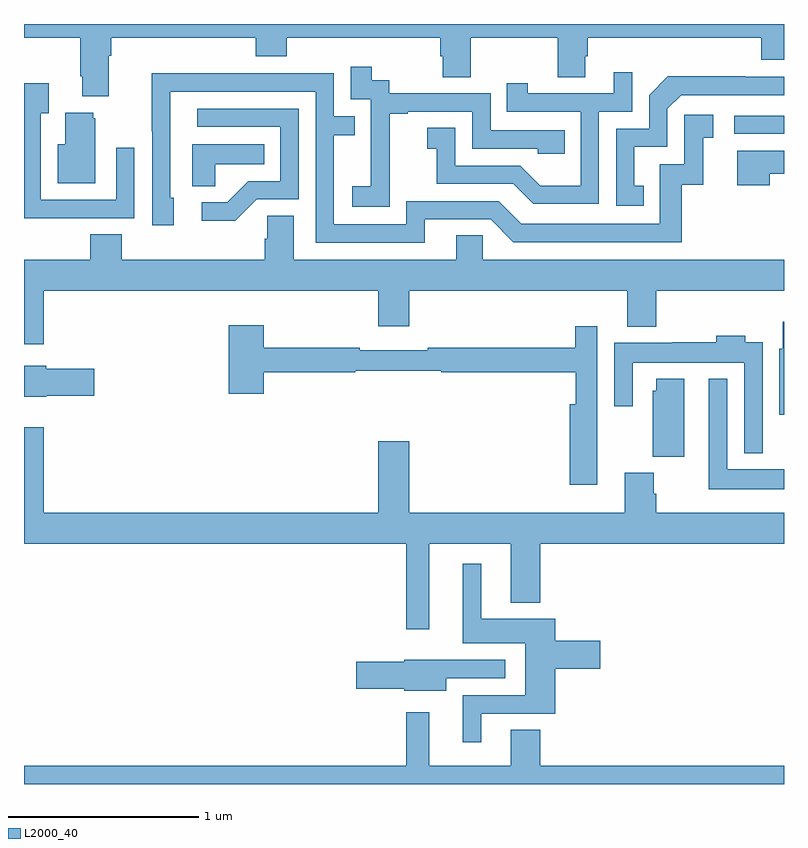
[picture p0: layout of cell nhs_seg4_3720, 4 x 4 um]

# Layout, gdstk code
import gdstk
lib = gdstk.Library(unit=1e-6, precision=1e-09)
def R(c, l, rs):  # rectangles x0, y0, x1, y1
    for r in rs: c.add(gdstk.rectangle(r[:2], r[2:], *l))
def P(c, l, *ps):  # polygons
    for p in ps: c.add(gdstk.Polygon(p, *l))
L2000_40 = (2000, 40)

nhs_seg4_3720 = lib.new_cell('nhs_seg4_3720')
R(nhs_seg4_3720, L2000_40, [(310.737,788.322,311,788.418)])
P(nhs_seg4_3720, L2000_40, [(307.447,788.732),(307.46,788.732),(307.46,788.828),(308.219,788.828),(308.219,788.729),(308.384,788.729),(308.384,788.828),(309.191,788.828),(309.191,788.73),(309.203,788.73),(309.203,788.62),(309.351,788.62),(309.351,788.828),(309.808,788.828),(309.808,788.62),(309.955,788.62),(309.955,788.73),(309.968,788.73),(309.968,788.828),(310.88,788.828),(310.88,788.711),(311,788.711),(311,788.9),(307,788.9),(307,788.828),(307.295,788.828),(307.295,788.626),(307.307,788.626),(307.307,788.519),(307.447,788.519)],
  [(308.925,788.143),(308.924,788.143),(308.924,788.427),(309.019,788.427),(309.019,788.439),(309.36,788.439),(309.36,788.244),(309.705,788.244),(309.705,788.217),(309.845,788.217),(309.845,788.34),(309.456,788.34),(309.456,788.535),(308.922,788.535),(308.922,788.604),(308.83,788.604),(308.83,788.674),(308.721,788.674),(308.721,788.505),(308.826,788.505),(308.826,788.276),(308.825,788.276),(308.825,788.047),(308.727,788.047),(308.727,787.937),(308.925,787.937)],
  [(310.026,788.439),(310.2,788.439),(310.2,788.647),(310.103,788.647),(310.103,788.535),(309.652,788.535),(309.652,788.587),(309.541,788.587),(309.541,788.439),(309.93,788.439),(309.93,788.05),(309.716,788.05),(309.612,788.154),(309.27,788.154),(309.27,788.353),(309.123,788.353),(309.123,788.243),(309.172,788.243),(309.172,788.058),(309.575,788.058),(309.68,787.953),(310.026,787.953)],
  [(309.109,787.872),(309.456,787.872),(309.576,787.752),(310.463,787.752),(310.463,788.055),(310.574,788.055),(310.574,788.301),(310.627,788.301),(310.627,788.422),(310.476,788.422),(310.476,788.163),(310.347,788.163),(310.347,787.848),(309.618,787.848),(309.498,787.968),(309.012,787.968),(309.012,787.845),(308.631,787.845),(308.631,788.314),(308.741,788.314),(308.741,788.415),(308.631,788.415),(308.631,788.64),(308.135,788.64),(308.135,788.642),(307.672,788.642),(307.672,788.335),(307.674,788.335),(307.674,787.842),(307.789,787.842),(307.789,787.986),(307.77,787.986),(307.77,788.544),(308.535,788.544),(308.535,787.749),(309.109,787.749)],
  [(310.262,788.049),(310.213,788.049),(310.213,788.253),(310.386,788.253),(310.386,788.454),(310.458,788.526),(311,788.526),(311,788.622),(310.796,788.622),(310.796,788.624),(310.388,788.624),(310.29,788.526),(310.29,788.349),(310.116,788.349),(310.116,787.944),(310.262,787.944)],
  [(307.265,787.878),(307.581,787.878),(307.581,788.248),(307.485,788.248),(307.485,787.974),(307.089,787.974),(307.089,788.431),(307.129,788.431),(307.129,788.587),(307,788.587),(307,787.877),(307.265,787.877)],
  [(308.226,787.977),(308.445,787.977),(308.445,788.454),(307.911,788.454),(307.911,788.358),(308.349,788.358),(308.349,788.073),(308.18,788.073),(308.069,787.962),(307.935,787.962),(307.935,787.865),(308.113,787.865)],
  [(307.375,788.403),(307.364,788.403),(307.364,788.434),(307.217,788.434),(307.217,788.266),(307.178,788.266),(307.178,788.063),(307.375,788.063)],
  [(308.007,788.162),(308.264,788.162),(308.264,788.266),(307.886,788.266),(307.886,788.047),(308.007,788.047)],
  [(310.925,788.111),(311,788.111),(311,788.233),(310.754,788.233),(310.754,788.052),(310.925,788.052)],
  [(307.105,787.496),(308.864,787.496),(308.864,787.308),(309.028,787.308),(309.028,787.496),(310.175,787.496),(310.175,787.307),(310.328,787.307),(310.328,787.496),(311,787.496),(311,787.66),(309.414,787.66),(309.414,787.787),(309.275,787.787),(309.275,787.66),(308.419,787.66),(308.419,787.892),(308.28,787.892),(308.28,787.769),(308.267,787.769),(308.267,787.66),(307.514,787.66),(307.514,787.793),(307.349,787.793),(307.349,787.66),(307,787.66),(307,787.215),(307.105,787.215)],
  [(311,787.333),(310.994,787.333),(310.994,787.191),(310.976,787.191),(310.976,786.843),(311,786.843)],
  [(310.018,786.794),(310.017,786.794),(310.017,787.309),(309.901,787.309),(309.901,787.195),(309.124,787.195),(309.124,787.182),(308.768,787.182),(308.768,787.195),(308.261,787.195),(308.261,787.315),(308.078,787.315),(308.078,786.954),(308.261,786.954),(308.261,787.066),(308.744,787.066),(308.744,787.074),(309.197,787.074),(309.197,787.066),(309.905,787.066),(309.905,786.898),(309.872,786.898),(309.872,786.474),(310.018,786.474)],
  [(310.887,787.225),(310.795,787.225),(310.795,787.258),(310.643,787.258),(310.643,787.225),(310.411,787.225),(310.411,787.222),(310.107,787.222),(310.107,786.888),(310.203,786.888),(310.203,787.118),(310.791,787.118),(310.791,786.641),(310.887,786.641)],
  [(307.116,786.944),(307.369,786.944),(307.369,787.086),(307.116,787.086),(307.116,787.102),(307,787.102),(307,786.938),(307.116,786.938)],
  [(311,786.556),(310.701,786.556),(310.701,787.033),(310.604,787.033),(310.604,786.452),(311,786.452)],
  [(310.474,787.033),(310.328,787.033),(310.328,786.969),(310.31,786.969),(310.31,786.622),(310.474,786.622)],
  [(309.133,786.164),(309.563,786.164),(309.563,785.855),(309.716,785.855),(309.716,786.164),(311,786.164),(311,786.328),(310.328,786.328),(310.328,786.428),(310.315,786.428),(310.315,786.537),(310.163,786.537),(310.163,786.328),(309.028,786.328),(309.028,786.703),(308.864,786.703),(308.864,786.328),(307.105,786.328),(307.105,786.778),(307,786.778),(307,786.164),(309.012,786.164),(309.012,785.715),(309.133,785.715)],
  [(309.406,785.271),(309.797,785.271),(309.797,785.507),(310.033,785.507),(310.033,785.654),(309.797,785.654),(309.797,785.77),(309.406,785.77),(309.406,786.058),(309.308,786.058),(309.308,785.642),(309.638,785.642),(309.638,785.367),(309.308,785.367),(309.308,785.121),(309.406,785.121)],
  [(309.223,785.457),(309.532,785.457),(309.532,785.553),(309.219,785.553),(309.219,785.554),(309,785.554),(309,785.543),(308.748,785.543),(308.748,785.401),(309,785.401),(309,785.39),(309.223,785.39)],
  [(311,784.996),(309.716,784.996),(309.716,785.186),(309.563,785.186),(309.563,784.996),(309.133,784.996),(309.133,785.278),(309.012,785.278),(309.012,784.996),(307,784.996),(307,784.9),(311,784.9)])

lib.write_gds('nhs_seg4_3720.gds')
